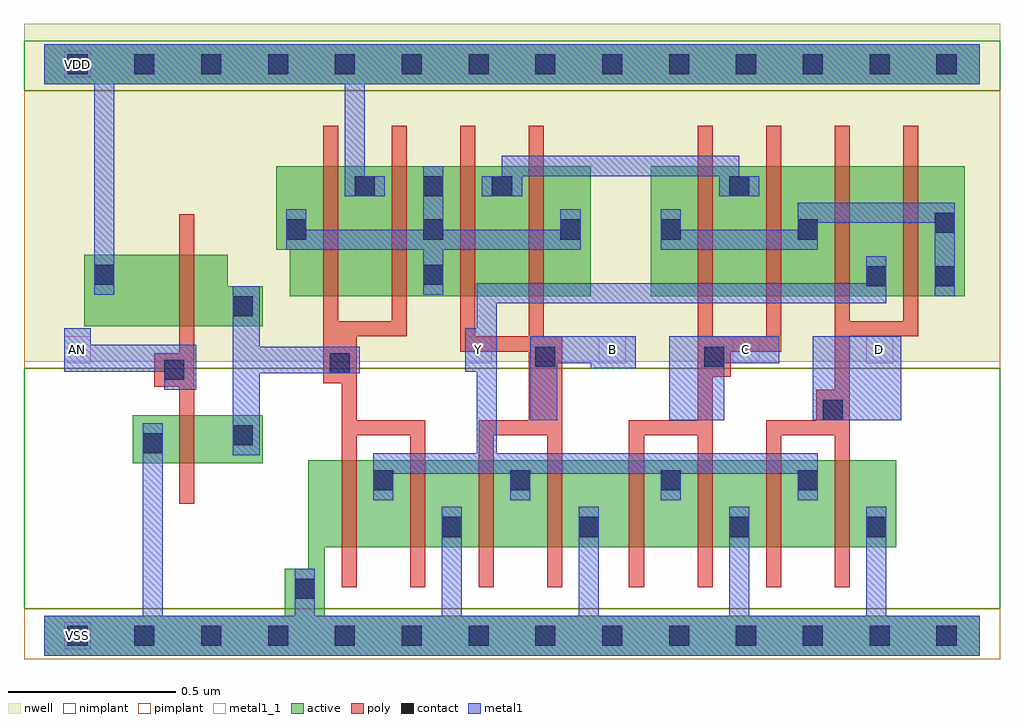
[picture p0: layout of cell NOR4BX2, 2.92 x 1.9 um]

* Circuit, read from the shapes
.subckt NOR4BX2 AN B C D VDD VSS Y
M1 n1 AN VSS VSS nfet w=0.145u l=0.045u
M2 Y n1 VSS VSS nfet w=0.26u l=0.045u m=2
M3 Y B VSS VSS nfet w=0.26u l=0.045u m=2
M4 Y C VSS VSS nfet w=0.26u l=0.045u m=2
M5 Y D VSS VSS nfet w=0.26u l=0.045u m=2
M6 n1 AN VDD VDD pfet w=0.215u l=0.045u
M7 VDD n1 n2 VDD pfet w=0.39u l=0.045u m=2
M8 n3 B n2 VDD pfet w=0.39u l=0.045u m=2
M9 n3 C n4 VDD pfet w=0.39u l=0.045u m=2
M10 Y D n4 VDD pfet w=0.39u l=0.045u m=2
.ends

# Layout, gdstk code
import gdstk
lib = gdstk.Library(unit=1e-6, precision=5e-10)
def R(c, l, rs):  # rectangles x0, y0, x1, y1
    for r in rs: c.add(gdstk.rectangle(r[:2], r[2:], *l))
def A(c, l, x, y, w, h, nx, ny, dx, dy):  # array of equal rectangles
    R(c, l, [(x+i*dx, y+j*dy, x+i*dx+w, y+j*dy+h) for i in range(nx) for j in range(ny)])
def P(c, l, *ps):  # polygons
    for p in ps: c.add(gdstk.Polygon(p, *l))
active = (1, 0)
nwell = (2, 0)
poly = (3, 0)
nimplant = (4, 0)
pimplant = (5, 0)
contact = (6, 0)
metal1 = (7, 0)
metal1_1 = (7, 1)

nor4bx2 = lib.new_cell('NOR4BX2')
R(nor4bx2, active, [(0.265,0.515,0.655,0.66), (1.815,1.015,2.755,1.405), (0,1.65,2.8,1.77)])
P(nor4bx2, active, [(0.695,1.405),(1.635,1.405),(1.635,1.015),(0.735,1.015),(0.735,1.155),(0.695,1.155)],
  [(0.12,1.14),(0.55,1.14),(0.55,1.045),(0.655,1.045),(0.655,0.925),(0.12,0.925)],
  [(0.79,0.525),(2.55,0.525),(2.55,0.265),(0.84,0.265),(0.84,0.06),(2.8,0.06),(2.8,-0.06),(0,-0.06),(0,0.06),(0.72,0.06),(0.72,0.2),(0.79,0.2)])
R(nor4bx2, nwell, [(-0.06,0.82,2.86,1.83)])
P(nor4bx2, poly, [(0.835,1.525),(0.88,1.525),(0.88,0.94),(1.04,0.94),(1.04,1.525),(1.085,1.525),(1.085,0.895),(0.935,0.895),(0.935,0.645),(1.14,0.645),(1.14,0.145),(1.095,0.145),(1.095,0.6),(0.935,0.6),(0.935,0.145),(0.89,0.145),(0.89,0.755),(0.835,0.755)],
  [(1.245,1.525),(1.29,1.525),(1.29,0.895),(1.45,0.895),(1.45,1.525),(1.495,1.525),(1.495,0.895),(1.55,0.895),(1.55,0.145),(1.505,0.145),(1.505,0.6),(1.345,0.6),(1.345,0.145),(1.3,0.145),(1.3,0.645),(1.45,0.645),(1.45,0.85),(1.245,0.85)],
  [(1.955,1.525),(2,1.525),(2,0.895),(2.16,0.895),(2.16,1.525),(2.205,1.525),(2.205,0.85),(2.055,0.85),(2.055,0.775),(2,0.775),(2,0.145),(1.955,0.145),(1.955,0.6),(1.795,0.6),(1.795,0.145),(1.75,0.145),(1.75,0.645),(1.955,0.645)],
  [(2.365,1.525),(2.41,1.525),(2.41,0.94),(2.57,0.94),(2.57,1.525),(2.615,1.525),(2.615,0.895),(2.41,0.895),(2.41,0.145),(2.365,0.145),(2.365,0.6),(2.205,0.6),(2.205,0.145),(2.16,0.145),(2.16,0.645),(2.31,0.645),(2.31,0.735),(2.365,0.735)],
  [(0.405,1.26),(0.45,1.26),(0.45,0.395),(0.405,0.395),(0.405,0.745),(0.33,0.745),(0.33,0.845),(0.405,0.845)])
R(nor4bx2, nimplant, [(-0.06,0.08,2.86,0.8), (-0.06,1.63,2.86,1.78)])
R(nor4bx2, pimplant, [(-0.06,-0.07,2.86,0.08), (-0.06,0.8,2.86,1.63)])
A(nor4bx2, contact, 0.07, -0.03, 0.06, 0.06, 14, 2, 0.2, 1.71)
A(nor4bx2, contact, 0.725, 1.185, 0.06, 0.06, 3, 1, 0.41, 0)
A(nor4bx2, contact, 0.93, 1.315, 0.06, 0.06, 3, 1, 0.205, 0)
R(nor4bx2, contact, [(0.75,0.11,0.81,0.17), (1.19,0.295,1.25,0.355), (1.6,0.295,1.66,0.355), (2.05,0.295,2.11,0.355), (2.46,0.295,2.52,0.355), (0.985,0.435,1.045,0.495), (1.395,0.435,1.455,0.495), (1.845,0.435,1.905,0.495), (2.255,0.435,2.315,0.495), (0.295,0.545,0.355,0.605), (0.565,0.57,0.625,0.63), (2.33,0.645,2.39,0.705), (0.36,0.765,0.42,0.825), (0.855,0.785,0.915,0.845), (1.47,0.805,1.53,0.865), (1.975,0.805,2.035,0.865), (0.565,0.955,0.625,1.015), (2.46,1.045,2.52,1.105), (2.665,1.045,2.725,1.105), (0.15,1.05,0.21,1.11), (1.135,1.05,1.195,1.11), (1.845,1.185,1.905,1.245), (2.255,1.185,2.315,1.245), (2.665,1.205,2.725,1.265), (2.05,1.315,2.11,1.375)])
R(nor4bx2, metal1, [(2.3,0.645,2.565,0.895)])
P(nor4bx2, metal1, [(0,1.77),(2.8,1.77),(2.8,1.65),(0.96,1.65),(0.96,1.375),(1.02,1.375),(1.02,1.315),(0.9,1.315),(0.9,1.65),(0.21,1.65),(0.21,1.02),(0.15,1.02),(0.15,1.65),(0,1.65)],
  [(0.725,1.275),(0.785,1.275),(0.785,1.215),(1.135,1.215),(1.135,1.405),(1.195,1.405),(1.195,1.215),(1.545,1.215),(1.545,1.275),(1.605,1.275),(1.605,1.155),(1.195,1.155),(1.195,1.02),(1.135,1.02),(1.135,1.155),(0.725,1.155)],
  [(1.37,1.435),(2.08,1.435),(2.08,1.375),(2.14,1.375),(2.14,1.315),(2.02,1.315),(2.02,1.375),(1.43,1.375),(1.43,1.315),(1.31,1.315),(1.31,1.375),(1.37,1.375)],
  [(1.845,1.275),(1.905,1.275),(1.905,1.215),(2.255,1.215),(2.255,1.295),(2.725,1.295),(2.725,1.015),(2.665,1.015),(2.665,1.235),(2.315,1.235),(2.315,1.155),(1.845,1.155)],
  [(0.565,1.045),(0.645,1.045),(0.645,0.865),(0.945,0.865),(0.945,0.785),(0.645,0.785),(0.645,0.54),(0.565,0.54)],
  [(2.46,1.135),(2.52,1.135),(2.52,0.995),(1.355,0.995),(1.355,0.545),(2.315,0.545),(2.315,0.405),(2.255,0.405),(2.255,0.485),(1.905,0.485),(1.905,0.405),(1.845,0.405),(1.845,0.485),(1.455,0.485),(1.455,0.405),(1.395,0.405),(1.395,0.485),(1.045,0.485),(1.045,0.405),(0.985,0.405),(0.985,0.545),(1.295,0.545),(1.295,0.79),(1.26,0.79),(1.26,0.92),(1.295,0.92),(1.295,1.055),(2.46,1.055)],
  [(0.06,0.92),(0.14,0.92),(0.14,0.87),(0.455,0.87),(0.455,0.735),(0.36,0.735),(0.36,0.79),(0.06,0.79)],
  [(0.295,0.635),(0.355,0.635),(0.355,0.06),(0.75,0.06),(0.75,0.2),(0.81,0.2),(0.81,0.06),(1.19,0.06),(1.19,0.385),(1.25,0.385),(1.25,0.06),(1.6,0.06),(1.6,0.385),(1.66,0.385),(1.66,0.06),(2.05,0.06),(2.05,0.385),(2.11,0.385),(2.11,0.06),(2.46,0.06),(2.46,0.385),(2.52,0.385),(2.52,0.06),(2.8,0.06),(2.8,-0.06),(0,-0.06),(0,0.06),(0.295,0.06)],
  [(1.455,0.895),(1.77,0.895),(1.77,0.8),(1.635,0.8),(1.635,0.815),(1.535,0.815),(1.535,0.645),(1.455,0.645)],
  [(1.87,0.895),(2.2,0.895),(2.2,0.815),(2.035,0.815),(2.035,0.645),(1.87,0.645)])
A(nor4bx2, metal1_1, 0.06, -0.04, 0.08, 0.08, 1, 3, 0, 0.855)
A(nor4bx2, metal1_1, 1.26, 0.815, 0.08, 0.08, 4, 1, 0.4, 0)
nor4bx2.add(gdstk.Label('Y', (1.3,0.855), layer=7, texttype=1))
nor4bx2.add(gdstk.Label('AN', (0.1,0.855), layer=7, texttype=1))
nor4bx2.add(gdstk.Label('B', (1.7,0.855), layer=7, texttype=1))
nor4bx2.add(gdstk.Label('C', (2.1,0.855), layer=7, texttype=1))
nor4bx2.add(gdstk.Label('D', (2.5,0.855), layer=7, texttype=1))
nor4bx2.add(gdstk.Label('VDD', (0.1,1.71), layer=7, texttype=1))
nor4bx2.add(gdstk.Label('VSS', (0.1,0), layer=7, texttype=1))
nor4bx2.add(gdstk.Label('NOR4BX2', (0,0), layer=63, texttype=0))

lib.write_gds('NOR4BX2.gds')
